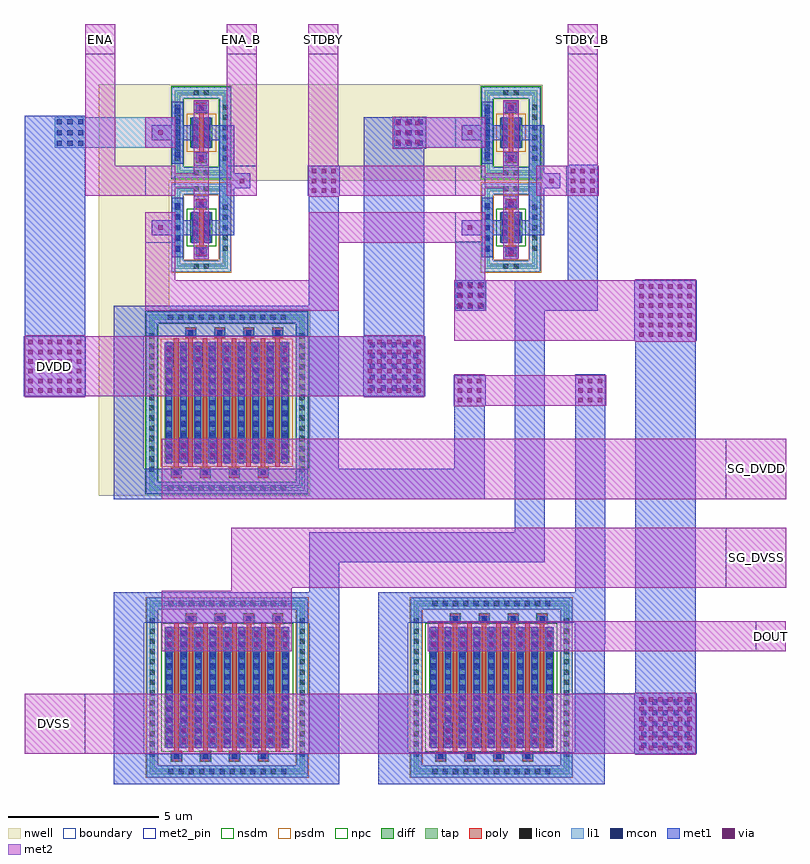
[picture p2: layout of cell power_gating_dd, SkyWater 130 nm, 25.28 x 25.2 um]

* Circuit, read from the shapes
.subckt power_gating_dd DOUT DVDD DVSS ENA ENA_B SG_DVDD SG_DVSS STDBY STDBY_B
XM1 DVSS STDBY_B SG_DVSS DVSS sky130_fd_pr__nfet_01v8 w=4 l=0.15 m=8
XM2 ENA_B ENA DVSS DVSS sky130_fd_pr__nfet_01v8 w=1 l=0.15
XM3 DVSS STDBY DOUT DVSS sky130_fd_pr__nfet_01v8 w=4 l=0.15 m=8
XM4 STDBY_B STDBY DVSS DVSS sky130_fd_pr__nfet_01v8 w=1 l=0.15
XM5 SG_DVDD STDBY DVDD DVDD sky130_fd_pr__pfet_01v8 w=4 l=0.15 m=8
XM6 ENA_B ENA DVDD DVDD sky130_fd_pr__pfet_01v8 w=1 l=0.15
XM7 STDBY_B STDBY DVDD DVDD sky130_fd_pr__pfet_01v8 w=1 l=0.15
.ends

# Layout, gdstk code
import gdstk
lib = gdstk.Library(unit=1e-6, precision=1e-09)
def R(c, l, rs):  # rectangles x0, y0, x1, y1
    for r in rs: c.add(gdstk.rectangle(r[:2], r[2:], *l))
def A(c, l, x, y, w, h, nx, ny, dx, dy):  # array of equal rectangles
    R(c, l, [(x+i*dx, y+j*dy, x+i*dx+w, y+j*dy+h) for i in range(nx) for j in range(ny)])
nwell = (64, 20)
diff = (65, 20)
tap = (65, 44)
poly = (66, 20)
licon = (66, 44)
li1 = (67, 20)
mcon = (67, 44)
met1 = (68, 20)
via = (68, 44)
met2_pin = (69, 16)
met2 = (69, 20)
nsdm = (93, 44)
psdm = (94, 20)
npc = (95, 20)
boundary = (235, 4)

sky130_fd_pr__nfet_01v8_ = lib.new_cell('sky130_fd_pr__nfet_01v8_HNLS5R')
R(sky130_fd_pr__nfet_01v8_, diff, [(-2.065,-2,2.065,2)])
R(sky130_fd_pr__nfet_01v8_, tap, [(-2.575,-2.87,2.575,-2.7), (-2.575,-2.7,-2.405,2.7), (2.405,-2.7,2.575,2.7), (-2.575,2.7,2.575,2.87)])
A(sky130_fd_pr__nfet_01v8_, poly, -1.845, -2.44, 0.33, 0.33, 4, 1, 0.96, 0)
A(sky130_fd_pr__nfet_01v8_, poly, -1.275, -2.13, 0.15, 4.24, 4, 1, 0.96, 0)
A(sky130_fd_pr__nfet_01v8_, poly, -1.755, -2.11, 0.15, 4.24, 4, 1, 0.96, 0)
A(sky130_fd_pr__nfet_01v8_, poly, -1.365, 2.11, 0.33, 0.33, 4, 1, 0.96, 0)
A(sky130_fd_pr__nfet_01v8_, licon, -1.955, -2.87, 0.17, 0.17, 12, 2, 0.34, 5.57)
A(sky130_fd_pr__nfet_01v8_, licon, -1.765, -2.36, 0.17, 0.17, 4, 1, 0.96, 0)
A(sky130_fd_pr__nfet_01v8_, licon, -2.575, -2.295, 0.17, 0.17, 1, 14, 0, 0.34)
A(sky130_fd_pr__nfet_01v8_, licon, 2.405, -2.295, 0.17, 0.17, 1, 14, 0, 0.34)
A(sky130_fd_pr__nfet_01v8_, licon, -2.005, -1.785, 0.17, 0.17, 9, 11, 0.48, 0.34)
A(sky130_fd_pr__nfet_01v8_, licon, -1.285, 2.19, 0.17, 0.17, 4, 1, 0.96, 0)
A(sky130_fd_pr__nfet_01v8_, li1, -1.845, -2.36, 0.33, 0.17, 4, 1, 0.96, 0)
A(sky130_fd_pr__nfet_01v8_, li1, -2.005, -2.02, 0.17, 4.04, 9, 1, 0.48, 0)
A(sky130_fd_pr__nfet_01v8_, li1, -1.365, 2.19, 0.33, 0.17, 4, 1, 0.96, 0)
R(sky130_fd_pr__nfet_01v8_, li1, [(-2.575,-2.87,2.575,-2.7), (-2.575,-2.7,-2.405,2.7), (2.405,-2.7,2.575,2.7), (-2.575,2.7,2.575,2.87)])
A(sky130_fd_pr__nfet_01v8_, mcon, -1.765, -2.36, 0.17, 0.17, 4, 1, 0.96, 0)
A(sky130_fd_pr__nfet_01v8_, mcon, -2.005, -1.885, 0.17, 0.17, 9, 11, 0.48, 0.36)
A(sky130_fd_pr__nfet_01v8_, mcon, -1.285, 2.19, 0.17, 0.17, 4, 1, 0.96, 0)
A(sky130_fd_pr__nfet_01v8_, met1, -1.825, -2.39, 0.29, 0.23, 4, 1, 0.96, 0)
A(sky130_fd_pr__nfet_01v8_, met1, -2.035, -2, 0.23, 4, 9, 1, 0.48, 0)
A(sky130_fd_pr__nfet_01v8_, met1, -1.345, 2.16, 0.29, 0.23, 4, 1, 0.96, 0)
R(sky130_fd_pr__nfet_01v8_, nsdm, [(-2.19,-2.125,2.19,2.125)])
R(sky130_fd_pr__nfet_01v8_, psdm, [(-2.7,-2.995,2.7,-2.575), (-2.7,-2.575,-2.28,2.575), (2.28,-2.575,2.7,2.575), (-2.7,2.575,2.7,2.995)])
A(sky130_fd_pr__nfet_01v8_, npc, -1.865, -2.46, 0.37, 0.37, 4, 1, 0.96, 0)
A(sky130_fd_pr__nfet_01v8_, npc, -1.385, 2.09, 0.37, 0.37, 4, 1, 0.96, 0)
R(sky130_fd_pr__nfet_01v8_, boundary, [(-2.49,-2.785,2.49,2.785)])

sky130_fd_pr__pfet_01v8_ = lib.new_cell('sky130_fd_pr__pfet_01v8_XGNZDL')
R(sky130_fd_pr__pfet_01v8_, nwell, [(-2.755,-3.095,2.755,3.095)])
R(sky130_fd_pr__pfet_01v8_, diff, [(-2.065,-2,2.065,2)])
R(sky130_fd_pr__pfet_01v8_, tap, [(-2.575,-2.915,2.575,-2.745), (-2.575,-2.745,-2.405,2.745), (2.405,-2.745,2.575,2.745), (-2.575,2.745,2.575,2.915)])
A(sky130_fd_pr__pfet_01v8_, poly, -1.845, -2.485, 0.33, 0.33, 4, 1, 0.96, 0)
A(sky130_fd_pr__pfet_01v8_, poly, -1.755, -2.155, 0.15, 4.285, 4, 1, 0.96, 0)
A(sky130_fd_pr__pfet_01v8_, poly, -1.275, -2.13, 0.15, 4.285, 4, 1, 0.96, 0)
A(sky130_fd_pr__pfet_01v8_, poly, -1.365, 2.155, 0.33, 0.33, 4, 1, 0.96, 0)
A(sky130_fd_pr__pfet_01v8_, licon, -1.955, -2.915, 0.17, 0.17, 12, 2, 0.34, 5.66)
A(sky130_fd_pr__pfet_01v8_, licon, -1.765, -2.405, 0.17, 0.17, 4, 1, 0.96, 0)
A(sky130_fd_pr__pfet_01v8_, licon, -2.575, -2.295, 0.17, 0.17, 1, 14, 0, 0.34)
A(sky130_fd_pr__pfet_01v8_, licon, 2.405, -2.295, 0.17, 0.17, 1, 14, 0, 0.34)
A(sky130_fd_pr__pfet_01v8_, licon, -2.005, -1.785, 0.17, 0.17, 9, 11, 0.48, 0.34)
A(sky130_fd_pr__pfet_01v8_, licon, -1.285, 2.235, 0.17, 0.17, 4, 1, 0.96, 0)
A(sky130_fd_pr__pfet_01v8_, li1, -1.845, -2.405, 0.33, 0.17, 4, 1, 0.96, 0)
A(sky130_fd_pr__pfet_01v8_, li1, -2.005, -2.02, 0.17, 4.04, 9, 1, 0.48, 0)
A(sky130_fd_pr__pfet_01v8_, li1, -1.365, 2.235, 0.33, 0.17, 4, 1, 0.96, 0)
R(sky130_fd_pr__pfet_01v8_, li1, [(-2.575,-2.915,2.575,-2.745), (-2.575,-2.745,-2.405,2.745), (2.405,-2.745,2.575,2.745), (-2.575,2.745,2.575,2.915)])
A(sky130_fd_pr__pfet_01v8_, mcon, -1.765, -2.405, 0.17, 0.17, 4, 1, 0.96, 0)
A(sky130_fd_pr__pfet_01v8_, mcon, -2.005, -1.885, 0.17, 0.17, 9, 11, 0.48, 0.36)
A(sky130_fd_pr__pfet_01v8_, mcon, -1.285, 2.235, 0.17, 0.17, 4, 1, 0.96, 0)
A(sky130_fd_pr__pfet_01v8_, met1, -1.825, -2.435, 0.29, 0.23, 4, 1, 0.96, 0)
A(sky130_fd_pr__pfet_01v8_, met1, -2.035, -2, 0.23, 4, 9, 1, 0.48, 0)
A(sky130_fd_pr__pfet_01v8_, met1, -1.345, 2.205, 0.29, 0.23, 4, 1, 0.96, 0)
R(sky130_fd_pr__pfet_01v8_, nsdm, [(-2.7,-3.04,2.7,-2.62), (-2.7,-2.62,-2.28,2.62), (2.28,-2.62,2.7,2.62), (-2.7,2.62,2.7,3.04)])
R(sky130_fd_pr__pfet_01v8_, psdm, [(-2.19,-2.125,2.19,2.125)])
A(sky130_fd_pr__pfet_01v8_, npc, -1.865, -2.505, 0.37, 0.37, 4, 1, 0.96, 0)
A(sky130_fd_pr__pfet_01v8_, npc, -1.385, 2.135, 0.37, 0.37, 4, 1, 0.96, 0)
R(sky130_fd_pr__pfet_01v8_, boundary, [(-2.49,-2.83,2.49,2.83)])

c_sky130_fd_pr__pfet_01v8_ = lib.new_cell('sky130_fd_pr__pfet_01v8_XGS3BL')
R(c_sky130_fd_pr__pfet_01v8_, nwell, [(-1.055,-1.595,1.055,1.595)])
R(c_sky130_fd_pr__pfet_01v8_, diff, [(-0.365,-0.5,0.365,0.5)])
R(c_sky130_fd_pr__pfet_01v8_, tap, [(-0.875,-1.415,0.875,-1.245), (-0.875,-1.245,-0.705,1.245), (0.705,-1.245,0.875,1.245), (-0.875,1.245,0.875,1.415)])
R(c_sky130_fd_pr__pfet_01v8_, poly, [(-0.165,-0.985,0.165,-0.655), (-0.075,-0.655,0.075,0.655), (-0.165,0.655,0.165,0.985)])
A(c_sky130_fd_pr__pfet_01v8_, licon, -0.875, -0.935, 0.17, 0.17, 1, 6, 0, 0.34)
A(c_sky130_fd_pr__pfet_01v8_, licon, 0.705, -0.935, 0.17, 0.17, 1, 6, 0, 0.34)
A(c_sky130_fd_pr__pfet_01v8_, licon, -0.305, -0.425, 0.17, 0.17, 1, 3, 0, 0.34)
A(c_sky130_fd_pr__pfet_01v8_, licon, 0.135, -0.425, 0.17, 0.17, 1, 3, 0, 0.34)
R(c_sky130_fd_pr__pfet_01v8_, licon, [(-0.255,-1.415,-0.085,-1.245), (0.085,-1.415,0.255,-1.245), (-0.085,-0.905,0.085,-0.735), (-0.085,0.735,0.085,0.905), (-0.255,1.245,-0.085,1.415), (0.085,1.245,0.255,1.415)])
R(c_sky130_fd_pr__pfet_01v8_, li1, [(-0.875,-1.415,0.875,-1.245), (-0.875,-1.245,-0.705,1.245), (0.705,-1.245,0.875,1.245), (-0.165,-0.905,0.165,-0.735), (-0.305,-0.52,-0.135,0.52), (0.135,-0.52,0.305,0.52), (-0.165,0.735,0.165,0.905), (-0.875,1.245,0.875,1.415)])
R(c_sky130_fd_pr__pfet_01v8_, mcon, [(-0.085,-0.905,0.085,-0.735), (-0.305,-0.265,-0.135,-0.095), (0.135,-0.265,0.305,-0.095), (-0.305,0.095,-0.135,0.265), (0.135,0.095,0.305,0.265), (-0.085,0.735,0.085,0.905)])
R(c_sky130_fd_pr__pfet_01v8_, met1, [(-0.145,-0.935,0.145,-0.705), (-0.335,-0.5,-0.105,0.5), (0.105,-0.5,0.335,0.5), (-0.145,0.705,0.145,0.935)])
R(c_sky130_fd_pr__pfet_01v8_, nsdm, [(-1,-1.54,1,-1.12), (-1,-1.12,-0.58,1.12), (0.58,-1.12,1,1.12), (-1,1.12,1,1.54)])
R(c_sky130_fd_pr__pfet_01v8_, psdm, [(-0.49,-0.625,0.49,0.625)])
R(c_sky130_fd_pr__pfet_01v8_, npc, [(-0.185,-1.005,0.185,-0.635), (-0.185,0.635,0.185,1.005)])
R(c_sky130_fd_pr__pfet_01v8_, boundary, [(-0.79,-1.33,0.79,1.33)])

c_sky130_fd_pr__nfet_01v8_ = lib.new_cell('sky130_fd_pr__nfet_01v8_648S5X')
R(c_sky130_fd_pr__nfet_01v8_, diff, [(-0.365,-0.5,0.365,0.5)])
R(c_sky130_fd_pr__nfet_01v8_, tap, [(-0.875,-1.37,0.875,-1.2), (-0.875,-1.2,-0.705,1.2), (0.705,-1.2,0.875,1.2), (-0.875,1.2,0.875,1.37)])
R(c_sky130_fd_pr__nfet_01v8_, poly, [(-0.165,-0.94,0.165,-0.61), (-0.075,-0.61,0.075,0.61), (-0.165,0.61,0.165,0.94)])
A(c_sky130_fd_pr__nfet_01v8_, licon, -0.875, -0.765, 0.17, 0.17, 1, 5, 0, 0.34)
A(c_sky130_fd_pr__nfet_01v8_, licon, 0.705, -0.765, 0.17, 0.17, 1, 5, 0, 0.34)
A(c_sky130_fd_pr__nfet_01v8_, licon, -0.305, -0.425, 0.17, 0.17, 1, 3, 0, 0.34)
A(c_sky130_fd_pr__nfet_01v8_, licon, 0.135, -0.425, 0.17, 0.17, 1, 3, 0, 0.34)
R(c_sky130_fd_pr__nfet_01v8_, licon, [(-0.255,-1.37,-0.085,-1.2), (0.085,-1.37,0.255,-1.2), (-0.085,-0.86,0.085,-0.69), (-0.085,0.69,0.085,0.86), (-0.255,1.2,-0.085,1.37), (0.085,1.2,0.255,1.37)])
R(c_sky130_fd_pr__nfet_01v8_, li1, [(-0.875,-1.37,0.875,-1.2), (-0.875,-1.2,-0.705,1.2), (0.705,-1.2,0.875,1.2), (-0.165,-0.86,0.165,-0.69), (-0.305,-0.52,-0.135,0.52), (0.135,-0.52,0.305,0.52), (-0.165,0.69,0.165,0.86), (-0.875,1.2,0.875,1.37)])
R(c_sky130_fd_pr__nfet_01v8_, mcon, [(-0.085,-0.86,0.085,-0.69), (-0.305,-0.265,-0.135,-0.095), (0.135,-0.265,0.305,-0.095), (-0.305,0.095,-0.135,0.265), (0.135,0.095,0.305,0.265), (-0.085,0.69,0.085,0.86)])
R(c_sky130_fd_pr__nfet_01v8_, met1, [(-0.145,-0.89,0.145,-0.66), (-0.335,-0.5,-0.105,0.5), (0.105,-0.5,0.335,0.5), (-0.145,0.66,0.145,0.89)])
R(c_sky130_fd_pr__nfet_01v8_, nsdm, [(-0.49,-0.625,0.49,0.625)])
R(c_sky130_fd_pr__nfet_01v8_, psdm, [(-1,-1.495,1,-1.075), (-1,-1.075,-0.58,1.075), (0.58,-1.075,1,1.075), (-1,1.075,1,1.495)])
R(c_sky130_fd_pr__nfet_01v8_, npc, [(-0.185,-0.96,0.185,-0.59), (-0.185,0.59,0.185,0.96)])
R(c_sky130_fd_pr__nfet_01v8_, boundary, [(-0.79,-1.285,0.79,1.285)])

level_shifter_dd = lib.new_cell('level_shifter_dd')
R(level_shifter_dd, li1, [(2.08,-8.89,2.25,-7.11), (2.08,-5.79,2.25,-3.92)])
A(level_shifter_dd, mcon, 2.08, -8.805, 0.17, 0.17, 1, 5, 0, 0.36)
A(level_shifter_dd, mcon, 2.08, -5.66, 0.17, 0.17, 1, 5, 0, 0.36)
R(level_shifter_dd, met1, [(2.7,-9.05,3.2,-8.65), (1.98,-8.99,2.35,-8.25), (1.32,-8.25,2.8,-7.75), (3.1,-8.25,4.05,-7.75), (1.98,-7.75,2.35,-7.01), (3.55,-7.75,4.05,-6.7), (2.7,-7.35,3.2,-6.95), (3.55,-6.7,4.58,-6.2), (3.55,-6.2,4.05,-5.105), (2.7,-5.95,3.2,-5.5), (1.98,-5.89,2.35,-5.1), (2.65,-5.105,2.8,-5.1), (3.1,-5.105,4.05,-4.605), (1.32,-5.1,2.8,-4.605), (1.32,-4.605,2.7,-4.6), (1.98,-4.6,2.35,-3.82), (2.7,-4.2,3.2,-3.8)])
R(level_shifter_dd, via, [(2.875,-8.925,3.025,-8.775), (1.525,-8.075,1.675,-7.925), (2.875,-7.225,3.025,-7.075), (4.225,-6.525,4.375,-6.375), (2.875,-5.8,3.025,-5.65), (1.525,-4.925,1.675,-4.775), (2.875,-4.075,3.025,-3.925)])
R(level_shifter_dd, met2_pin, [(1.1,-8.5,2.1,-7.5), (1.1,-6.95,2.1,-5.95), (3.8,-6.95,4.8,-5.95), (1.1,-5.35,2.1,-4.35)])
R(level_shifter_dd, met2, [(2.7,-9.05,3.2,-9.025), (2.7,-9.025,3.205,-8.65), (2.705,-8.65,3.205,-6.7), (1.1,-8.5,2.1,-7.5), (1.1,-6.95,2.1,-6.7), (3.8,-6.95,4.8,-5.95), (1.1,-6.7,3.205,-6.2), (1.1,-6.2,2.1,-5.95), (2.705,-6.2,3.205,-3.785), (1.1,-5.35,2.1,-4.35)])
level_shifter_dd.add(gdstk.Reference(c_sky130_fd_pr__pfet_01v8_, (2.955,-4.855)))
level_shifter_dd.add(gdstk.Reference(c_sky130_fd_pr__nfet_01v8_, (2.955,-8)))
level_shifter_dd.add(gdstk.Label('DVSS', (1.6,-8), layer=69, texttype=5))
level_shifter_dd.add(gdstk.Label('DVDD', (1.6,-4.85), layer=69, texttype=5))
level_shifter_dd.add(gdstk.Label('LO', (1.6,-6.45), layer=69, texttype=5))
level_shifter_dd.add(gdstk.Label('LO_B', (4.3,-6.45), layer=69, texttype=5))

power_gating_dd = lib.new_cell('power_gating_dd')
R(power_gating_dd, nwell, [(9,-22.25,10.5,-16.1), (9,-16.1,11.35,-8.6), (13.45,-11.8,21.62,-8.6)])
R(power_gating_dd, li1, [(10.62,-31.57,15.91,-31.54), (19.38,-31.57,24.67,-31.54), (10.59,-31.54,15.94,-31.2), (19.35,-31.54,24.7,-31.2), (10.59,-31.2,10.96,-26), (15.57,-31.2,15.94,-30.8), (19.35,-31.2,19.72,-30.8), (24.33,-31.2,24.7,-30.805), (24.33,-30.805,28.8,-28.795), (15.57,-30.8,19.72,-28.8), (15.57,-28.8,15.94,-26), (19.35,-28.8,19.72,-26), (24.33,-28.795,24.7,-26), (10.59,-26,15.94,-25.66), (19.35,-26,24.7,-25.66), (10.62,-25.66,15.91,-25.63), (19.38,-25.66,24.67,-25.63), (10.61,-22.17,15.9,-22.14), (10.58,-22.14,15.93,-21.8), (10.58,-21.8,10.95,-16.51), (15.56,-21.8,15.93,-18.95), (15.56,-18.95,19.8,-16.95), (15.56,-16.95,15.93,-16.51), (10.58,-16.51,15.93,-16.17), (10.61,-16.17,15.9,-16.14), (20.82,-16.1,21.82,-14.82), (11.46,-14.82,13.35,-14.79), (20.82,-14.82,23.62,-14.79), (11.43,-14.79,13.38,-14.45), (20.82,-14.79,23.65,-14.45), (11.43,-14.45,11.8,-12.25), (13.01,-14.45,13.38,-12.25), (20.82,-14.45,22.07,-13.8), (23.28,-14.45,23.65,-12.25), (21.7,-13.8,22.07,-12.25), (11.43,-12.25,13.38,-11.91), (21.7,-12.25,23.65,-11.91), (11.46,-11.91,13.35,-11.9), (21.73,-11.91,23.62,-11.9), (11.46,-11.7,13.35,-11.69), (21.73,-11.7,23.62,-11.69), (11.43,-11.69,13.38,-11.35), (21.7,-11.69,23.65,-11.35), (11.43,-11.35,11.8,-10.7), (13.01,-11.35,13.38,-9.06), (21.7,-11.35,22.07,-10.7), (23.28,-11.35,23.65,-9.06), (7.55,-10.7,11.8,-9.7), (18.8,-10.7,22.07,-9.7), (11.43,-9.7,11.8,-9.06), (21.7,-9.7,22.07,-9.06), (11.43,-9.06,13.38,-8.72), (21.7,-9.06,23.65,-8.72), (11.46,-8.72,13.35,-8.69), (21.73,-8.72,23.62,-8.69)])
A(power_gating_dd, mcon, 26.99, -30.605, 0.17, 0.17, 5, 5, 0.36, 0.36)
A(power_gating_dd, mcon, 17.995, -18.755, 0.17, 0.17, 5, 5, 0.36, 0.36)
A(power_gating_dd, mcon, 20.875, -16.045, 0.17, 0.17, 3, 3, 0.36, 0.36)
A(power_gating_dd, mcon, 7.605, -10.645, 0.17, 0.17, 3, 3, 0.36, 0.36)
A(power_gating_dd, mcon, 18.855, -10.645, 0.17, 0.17, 3, 3, 0.36, 0.36)
A(power_gating_dd, met1, 11.69, -30.59, 0.27, 0.82, 4, 1, 0.96, 0)
A(power_gating_dd, met1, 20.45, -30.59, 0.27, 0.82, 4, 1, 0.96, 0)
A(power_gating_dd, met1, 11.21, -27.43, 0.27, 0.82, 5, 1, 0.96, 0)
A(power_gating_dd, met1, 19.97, -27.43, 0.27, 0.82, 5, 1, 0.96, 0)
A(power_gating_dd, met1, 11.68, -21.145, 0.27, 0.82, 4, 1, 0.96, 0)
A(power_gating_dd, met1, 11.2, -17.985, 0.27, 0.82, 5, 1, 0.96, 0)
R(power_gating_dd, met1, [(9.5,-31.8,16.98,-30.8), (18.27,-31.8,25.79,-30.75), (26.79,-30.83,27.79,-30.805), (26.76,-30.805,28.83,-28.795), (9.51,-30.8,10.51,-26.45), (15.98,-30.8,16.98,-26.45), (18.27,-30.75,19.27,-26.45), (24.79,-30.75,25.79,-27.15), (26.79,-28.795,28.8,-17.105), (24.79,-27.15,25.8,-26.45), (9.51,-26.45,16.98,-25.45), (18.27,-26.45,25.8,-25.45), (15.98,-25.45,16.98,-24.45), (24.8,-25.45,25.8,-18.22), (15.98,-24.45,23.8,-23.45), (22.8,-23.45,23.8,-16.1), (9.5,-22.35,21.8,-21.35), (9.5,-21.35,10.5,-16.95), (15.97,-21.35,16.97,-16.95), (20.8,-21.35,21.8,-19.25), (20.77,-19.25,21.83,-18.25), (6.52,-18.95,8.58,-16.95), (17.77,-18.95,19.83,-16.95), (26.76,-17.105,28.83,-15.095), (6.55,-16.95,8.55,-10.76), (9.5,-16.95,16.97,-15.95), (17.8,-16.95,19.8,-10.73), (20.79,-16.1,21.85,-15.1), (22.8,-16.1,25.55,-15.1), (15.97,-15.95,16.97,-12.3), (24.55,-15.1,25.55,-11.27), (15.94,-12.3,17,-11.3), (6.55,-10.76,8.58,-9.65), (17.8,-10.73,19.86,-9.7), (18.74,-9.7,19.86,-9.67), (7.52,-9.65,8.58,-9.64)])
A(power_gating_dd, via, 26.92, -30.675, 0.15, 0.15, 6, 6, 0.32, 0.32)
A(power_gating_dd, via, 11.75, -30.415, 0.15, 0.15, 4, 2, 0.96, 0.32)
A(power_gating_dd, via, 20.51, -30.415, 0.15, 0.15, 4, 2, 0.96, 0.32)
A(power_gating_dd, via, 11.27, -27.255, 0.15, 0.15, 5, 2, 0.96, 0.32)
A(power_gating_dd, via, 20.03, -27.255, 0.15, 0.15, 5, 2, 0.96, 0.32)
A(power_gating_dd, via, 11.74, -20.97, 0.15, 0.15, 4, 2, 0.96, 0.32)
A(power_gating_dd, via, 20.905, -19.145, 0.15, 0.15, 3, 3, 0.32, 0.32)
A(power_gating_dd, via, 24.905, -19.145, 0.15, 0.15, 3, 3, 0.32, 0.32)
A(power_gating_dd, via, 6.675, -18.825, 0.15, 0.15, 6, 6, 0.32, 0.32)
A(power_gating_dd, via, 17.925, -18.825, 0.15, 0.15, 6, 6, 0.32, 0.32)
A(power_gating_dd, via, 11.26, -17.81, 0.15, 0.15, 5, 2, 0.96, 0.32)
A(power_gating_dd, via, 26.92, -16.975, 0.15, 0.15, 6, 6, 0.32, 0.32)
A(power_gating_dd, via, 20.925, -15.995, 0.15, 0.15, 3, 3, 0.32, 0.32)
A(power_gating_dd, via, 16.075, -12.195, 0.15, 0.15, 3, 3, 0.32, 0.32)
A(power_gating_dd, via, 24.655, -12.195, 0.15, 0.15, 3, 3, 0.32, 0.32)
A(power_gating_dd, via, 18.855, -10.595, 0.15, 0.15, 3, 3, 0.32, 0.32)
R(power_gating_dd, met2_pin, [(6.55,-30.8,8.55,-28.8), (30.79,-27.4,31.79,-26.4), (29.8,-25.3,31.8,-23.3), (29.8,-22.35,31.8,-20.35), (6.55,-18.95,8.55,-16.95), (8.55,-7.6,9.55,-6.6), (13.25,-7.6,14.25,-6.6), (15.95,-7.6,16.95,-6.6), (24.55,-7.6,25.55,-6.6)])
R(power_gating_dd, met2, [(26.8,-30.83,28.8,-30.8), (6.55,-30.8,28.8,-28.8), (26.8,-28.8,28.8,-28.77), (11.1,-27.4,15.4,-25.4), (19.92,-27.4,31.79,-26.4), (13.4,-25.4,15.4,-25.3), (13.4,-25.3,31.8,-23.3), (11.1,-22.35,31.8,-20.35), (20.8,-19.28,21.8,-19.25), (20.8,-19.25,25.83,-18.25), (6.55,-18.98,8.55,-18.95), (17.8,-18.98,19.8,-18.95), (6.55,-18.95,19.8,-16.95), (20.8,-18.25,21.8,-18.22), (26.79,-17.135,28.8,-17.105), (20.795,-17.105,28.8,-15.095), (6.55,-16.95,8.55,-16.92), (17.8,-16.95,19.8,-16.92), (10.55,-16.1,16.97,-15.1), (10.55,-15.1,11.55,-12.85), (15.97,-15.1,16.97,-13.85), (20.82,-15.095,21.82,-13.85), (26.79,-15.095,28.8,-15.065), (15.97,-13.85,21.82,-12.85), (15.97,-12.33,16.97,-12.3), (8.55,-12.3,11.55,-11.3), (13.25,-12.3,14.25,-6.6), (15.95,-12.3,21.82,-11.3), (23.52,-12.3,25.58,-11.3), (8.55,-11.3,9.55,-6.6), (15.95,-11.3,16.97,-11.27), (24.55,-11.3,25.55,-6.6), (15.95,-11.27,16.95,-6.6), (18.75,-10.73,19.75,-10.7), (10.55,-10.7,11.55,-9.7), (18.75,-10.7,21.77,-9.7), (18.75,-9.7,19.75,-9.67)])
power_gating_dd.add(gdstk.Reference(sky130_fd_pr__nfet_01v8_, (13.265,-28.6)))
power_gating_dd.add(gdstk.Reference(sky130_fd_pr__pfet_01v8_, (13.255,-19.155)))
power_gating_dd.add(gdstk.Reference(sky130_fd_pr__nfet_01v8_, (22.025,-28.6)))
power_gating_dd.add(gdstk.Reference(level_shifter_dd, (19.72,-5.35)))
power_gating_dd.add(gdstk.Reference(level_shifter_dd, (9.45,-5.35)))
power_gating_dd.add(gdstk.Label('DVSS', (7.55,-29.8), layer=69, texttype=5))
power_gating_dd.add(gdstk.Label('DVDD', (7.55,-17.95), layer=69, texttype=5))
power_gating_dd.add(gdstk.Label('ENA', (9.05,-7.1), layer=69, texttype=5))
power_gating_dd.add(gdstk.Label('ENA_B', (13.75,-7.1), layer=69, texttype=5))
power_gating_dd.add(gdstk.Label('STDBY', (16.45,-7.1), layer=69, texttype=5))
power_gating_dd.add(gdstk.Label('STDBY_B', (25.05,-7.1), layer=69, texttype=5))
power_gating_dd.add(gdstk.Label('SG_DVSS', (30.8,-24.3), layer=69, texttype=5))
power_gating_dd.add(gdstk.Label('SG_DVDD', (30.8,-21.35), layer=69, texttype=5))
power_gating_dd.add(gdstk.Label('DOUT', (31.29,-26.9), layer=69, texttype=5))

lib.write_gds('power_gating_dd.gds')
